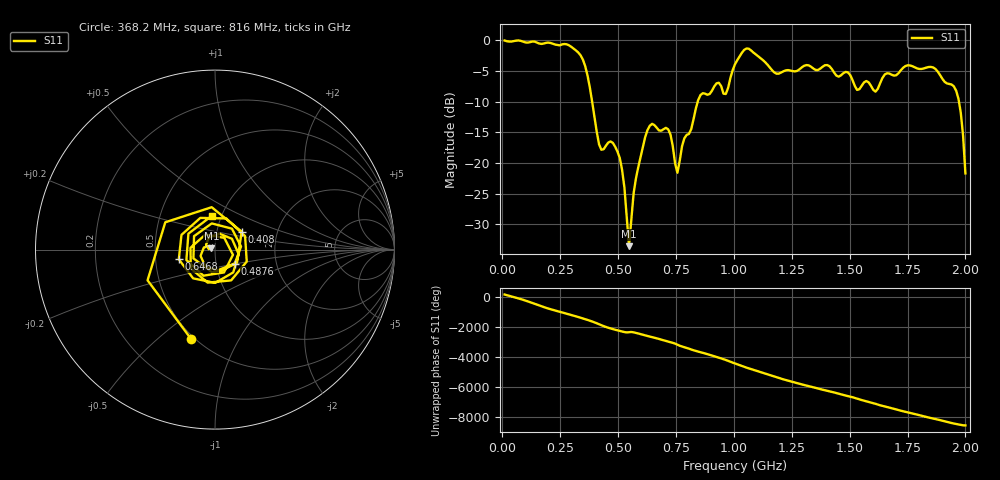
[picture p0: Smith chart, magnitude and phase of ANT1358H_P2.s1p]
!Created with skrf (http://scikit-rf.org).
# Hz S RI R 50.0
!freq ReS11 ImS11
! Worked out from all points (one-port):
!   201 points, 10 MHz to 2 GHz, reference 50 ohm
!   lowest |S11| = -33.6 dB at 547.3 MHz (marker M1), VSWR 1.04, Z = 48.1 + j0.693 ohm
!   |S11| at or under -10 dB: 388.1 MHz to 843.9 MHz (455.8 MHz wide, 74 % of centre); 1.972 GHz to end of sweep
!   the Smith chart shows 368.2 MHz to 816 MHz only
!   S11 on the Smith chart (normalised r, x): 368.2 MHz: 0.48, -0.65; 408 MHz: 1.32, +0.27; 487.6 MHz: 1.23, -0.20; 646.8 MHz: 0.66, -0.07; 816 MHz: 0.90, +0.35
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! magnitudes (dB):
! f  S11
! 10 MHz  0.0
! 258.8 MHz  -0.6
! 338.4 MHz  -2.4
! 368.2 MHz  -5.7
! 408 MHz  -14.9
! 427.9 MHz  -17.8
! 487.6 MHz  -17.3
! 507.5 MHz  -19.2
! 527.4 MHz  -24.0
! 547.3 MHz  -33.6
! 577.1 MHz  -22.5
! 646.8 MHz  -13.6
! 716.5 MHz  -14.5
! 756.2 MHz  -21.6
! 786.1 MHz  -16.0
! 816 MHz  -14.5
! 855.8 MHz  -8.9
! 935.4 MHz  -6.9
! 965.2 MHz  -8.7
! 1.005 GHz  -3.9
! 1.065 GHz  -1.3
! 1.254 GHz  -5.0
! 1.502 GHz  -5.6
! 1.612 GHz  -8.3
! 1.751 GHz  -4.0
! 1.95 GHz  -7.5
! 1.98 GHz  -11.8
! 2 GHz  -21.7
